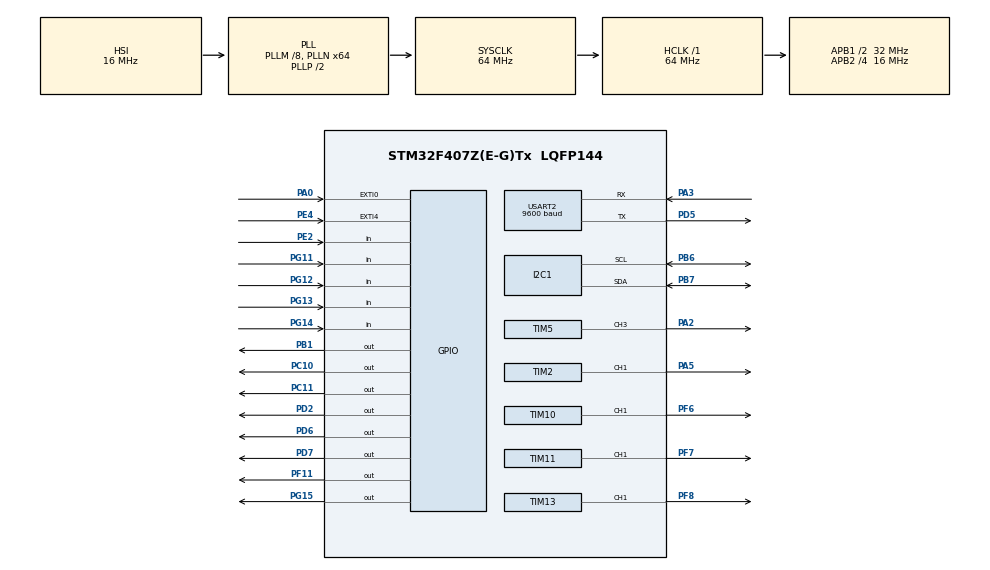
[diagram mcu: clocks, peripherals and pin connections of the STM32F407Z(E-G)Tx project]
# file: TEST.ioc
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Dma.Request0=USART2_RX
Dma.Request1=USART2_TX
Dma.USART2_RX.0.Direction=DMA_PERIPH_TO_MEMORY
Dma.USART2_RX.0.FIFOMode=DMA_FIFOMODE_DISABLE
Dma.USART2_RX.0.Instance=DMA1_Stream5
Dma.USART2_RX.0.MemDataAlignment=DMA_MDATAALIGN_BYTE
Dma.USART2_RX.0.MemInc=DMA_MINC_ENABLE
Dma.USART2_RX.0.Mode=DMA_NORMAL
Dma.USART2_RX.0.PeriphDataAlignment=DMA_PDATAALIGN_BYTE
Dma.USART2_RX.0.PeriphInc=DMA_PINC_DISABLE
Dma.USART2_RX.0.Priority=DMA_PRIORITY_VERY_HIGH
Dma.USART2_TX.1.Direction=DMA_MEMORY_TO_PERIPH
Dma.USART2_TX.1.FIFOMode=DMA_FIFOMODE_DISABLE
Dma.USART2_TX.1.Instance=DMA1_Stream6
Dma.USART2_TX.1.MemDataAlignment=DMA_MDATAALIGN_BYTE
Dma.USART2_TX.1.MemInc=DMA_MINC_ENABLE
Dma.USART2_TX.1.Mode=DMA_NORMAL
Dma.USART2_TX.1.PeriphDataAlignment=DMA_PDATAALIGN_BYTE
Dma.USART2_TX.1.PeriphInc=DMA_PINC_DISABLE
Dma.USART2_TX.1.Priority=DMA_PRIORITY_MEDIUM
FREERTOS.Tasks01=defaultTask,0,128,StartDefaultTask,Default,NULL,Dynamic,NULL,NULL;LinePrtrol,0,128,StartLinePrtrol,Default,NULL,Dynamic,NULL,NULL
FREERTOS.Timers01=SpeedGet,Callback01,osTimerPeriodic,Default,NULL,Dynamic,NULL
FREERTOS.configUSE_TIMERS=1
Mcu.Family=STM32F4
Mcu.Name=STM32F407Z(E-G)Tx
Mcu.Package=LQFP144
NVIC.DMA1_Stream5_IRQn=true\:5\:0\:false\:false\:true\:true\:false\:true\:true
NVIC.DMA1_Stream6_IRQn=true\:5\:0\:false\:false\:true\:true\:false\:true\:true
NVIC.EXTI0_IRQn=true\:6\:0\:true\:false\:true\:true\:true\:true\:true
NVIC.EXTI4_IRQn=true\:6\:0\:true\:false\:true\:true\:true\:true\:true
NVIC.PriorityGroup=NVIC_PRIORITYGROUP_4
NVIC.TIM1_UP_TIM10_IRQn=true\:15\:0\:false\:false\:true\:false\:false\:true\:true
NVIC.TimeBase=TIM1_UP_TIM10_IRQn
NVIC.TimeBaseIP=TIM1
NVIC.USART2_IRQn=true\:5\:0\:false\:false\:true\:true\:true\:true\:true
PA0-WKUP.GPIO_PuPd=GPIO_PULLDOWN
PA0-WKUP.Signal=GPXTI0
PA13.Mode=Serial_Wire
PA13.Signal=SYS_JTMS-SWDIO
PA14.Mode=Serial_Wire
PA14.Signal=SYS_JTCK-SWCLK
PA2.Signal=S_TIM5_CH3
PA3.Mode=Asynchronous
PA3.Signal=USART2_RX
PA5.Signal=S_TIM2_CH1_ETR
PB1.GPIO_Speed=GPIO_SPEED_FREQ_HIGH
PB1.PinState=GPIO_PIN_SET
PB1.Signal=GPIO_Output
PB6.Mode=I2C
PB6.Signal=I2C1_SCL
PB7.Mode=I2C
PB7.Signal=I2C1_SDA
PC10.GPIO_Speed=GPIO_SPEED_FREQ_HIGH
PC10.PinState=GPIO_PIN_SET
PC10.Signal=GPIO_Output
PC11.GPIO_Speed=GPIO_SPEED_FREQ_HIGH
PC11.PinState=GPIO_PIN_SET
PC11.Signal=GPIO_Output
PD2.GPIO_Speed=GPIO_SPEED_FREQ_HIGH
PD2.PinState=GPIO_PIN_SET
PD2.Signal=GPIO_Output
PD5.Mode=Asynchronous
PD5.Signal=USART2_TX
PD6.GPIO_Speed=GPIO_SPEED_FREQ_HIGH
PD6.PinState=GPIO_PIN_SET
PD6.Signal=GPIO_Output
PD7.GPIO_Speed=GPIO_SPEED_FREQ_HIGH
PD7.PinState=GPIO_PIN_SET
PD7.Signal=GPIO_Output
PE2.GPIO_PuPd=GPIO_PULLDOWN
PE2.Signal=GPIO_Input
PE4.GPIO_PuPd=GPIO_PULLDOWN
PE4.Signal=GPXTI4
PF11.GPIO_Speed=GPIO_SPEED_FREQ_HIGH
PF11.PinState=GPIO_PIN_SET
PF11.Signal=GPIO_Output
PF6.Signal=S_TIM10_CH1
PF7.Signal=S_TIM11_CH1
PF8.Signal=S_TIM13_CH1
PG11.GPIO_PuPd=GPIO_PULLDOWN
PG11.Signal=GPIO_Input
PG12.GPIO_PuPd=GPIO_PULLDOWN
PG12.Signal=GPIO_Input
PG13.GPIO_PuPd=GPIO_PULLDOWN
PG13.Signal=GPIO_Input
PG14.GPIO_PuPd=GPIO_PULLDOWN
PG14.Signal=GPIO_Input
PG15.GPIO_Speed=GPIO_SPEED_FREQ_HIGH
PG15.PinState=GPIO_PIN_SET
PG15.Signal=GPIO_Output
PH0-OSC_IN.Mode=HSE-External-Oscillator
PH0-OSC_IN.Signal=RCC_OSC_IN
PH1-OSC_OUT.Mode=HSE-External-Oscillator
PH1-OSC_OUT.Signal=RCC_OSC_OUT
ProjectManager.HeapSize=0x200
ProjectManager.StackSize=0x400
ProjectManager.TargetToolchain=MDK-ARM V5.32
RCC.48MHZClocksFreq_Value=32000000
RCC.AHBFreq_Value=64000000
RCC.APB1CLKDivider=RCC_HCLK_DIV2
RCC.APB1Freq_Value=32000000
RCC.APB1TimFreq_Value=64000000
RCC.APB2CLKDivider=RCC_HCLK_DIV4
RCC.APB2Freq_Value=16000000
RCC.APB2TimFreq_Value=32000000
RCC.CortexFreq_Value=64000000
RCC.HCLKFreq_Value=64000000
RCC.HSE_VALUE=25000000
RCC.HSI_VALUE=16000000
RCC.LSE_VALUE=32768
RCC.PLLM=8
RCC.PLLN=64
RCC.SYSCLKFreq_VALUE=64000000
RCC.SYSCLKSource=RCC_SYSCLKSOURCE_PLLCLK
RCC.VCOOutputFreq_Value=128000000
SH.S_TIM10_CH1.0=TIM10_CH1,PWM Generation1 CH1
SH.S_TIM11_CH1.0=TIM11_CH1,PWM Generation1 CH1
SH.S_TIM13_CH1.0=TIM13_CH1,PWM Generation1 CH1
SH.S_TIM2_CH1_ETR.0=TIM2_CH1,PWM Generation1 CH1
SH.S_TIM5_CH3.0=TIM5_CH3,PWM Generation3 CH3
TIM10.Channel=TIM_CHANNEL_1
TIM10.Prescaler=168-1
TIM11.Channel=TIM_CHANNEL_1
TIM11.Prescaler=168-1
TIM13.Channel=TIM_CHANNEL_1
TIM13.Prescaler=168-1
TIM2.Channel-PWM\ Generation1\ CH1=TIM_CHANNEL_1
TIM2.Period=65535
TIM2.Prescaler=168-1
TIM5.AutoReloadPreload=TIM_AUTORELOAD_PRELOAD_ENABLE
TIM5.Channel-PWM\ Generation3\ CH3=TIM_CHANNEL_3
TIM5.Period=3000
TIM5.Prescaler=72-1
USART2.BaudRate=9600
USART2.VirtualMode=VM_ASYNC
VP_FREERTOS_VS_CMSIS_V1.Mode=CMSIS_V1
VP_SYS_VS_tim1.Mode=TIM1
VP_TIM10_VS_ClockSourceINT.Mode=Enable_Timer
VP_TIM11_VS_ClockSourceINT.Mode=Enable_Timer
VP_TIM13_VS_ClockSourceINT.Mode=Enable_Timer
VP_TIM2_VS_ClockSourceITR.Mode=TriggerSource_ITR0
VP_TIM5_VS_ClockSourceINT.Mode=Internal
VP_TIM5_VS_ClockSourceITR.Mode=TriggerSource_ITR0
board=custom

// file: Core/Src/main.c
/* USER CODE BEGIN Header */
/**
  ******************************************************************************
  * @file           : main.c
  * @brief          : Main program body
  ******************************************************************************
  * @attention
  *
  * <h2><center>&copy; Copyright (c) 2021 STMicroelectronics.
  * All rights reserved.</center></h2>
  *
  * This software component is licensed by ST under BSD 3-Clause license,
  * the "License"; You may not use this file except in compliance with the
  * License. You may obtain a copy of the License at:
  *                        opensource.org/licenses/BSD-3-Clause
  *
  ******************************************************************************
  */
/* USER CODE END Header */
#include "main.h"
#include "cmsis_os.h"
#include "dma.h"
#include "i2c.h"
#include "tim.h"
#include "usart.h"
#include "gpio.h"

/* USER CODE BEGIN Includes */
#include "robot.h"
#include "BlueTooth.h"
#include "OLED.h"
#include "robot_def.h"
/* USER CODE END Includes */

void SystemClock_Config(void);
void MX_FREERTOS_Init(void);

/* USER CODE BEGIN 0 */
ROBOT_T*robot_t;
/* USER CODE END 0 */

int main(void)
{

  /* MCU Configuration--------------------------------------------------------*/

  /* Reset of all peripherals, Initializes the Flash interface and the Systick. */
  HAL_Init();

  /* Configure the system clock */
  SystemClock_Config();

  /* Initialize all configured peripherals */
  MX_GPIO_Init();
  MX_TIM5_Init();
  MX_TIM10_Init();
  MX_TIM11_Init();
  MX_TIM13_Init();
  MX_I2C1_Init();
  MX_DMA_Init();
  MX_USART2_UART_Init();
  MX_TIM2_Init();
  /* USER CODE BEGIN 2 */
  HAL_Delay(500);			//延时500ms使MCU启动，防止电磁I2C干扰通信

//	HAL_TIM_Encoder_Start(Encoder_Port_1,Encode_CHANNEL);
//	HAL_TIM_Encoder_Start(Encoder_Port_2,Encode_CHANNEL);
//	HAL_TIM_Encoder_Start(Encoder_Port_3,Encode_CHANNEL);
//	HAL_TIM_Encoder_Start(Encoder_Port_4,Encode_CHANNEL);

  HAL_TIM_PWM_Start(MUSIC_PORT,MUSIC_CHANNEL); //打开音乐播放

	USER_DMA_Init();	//用户自定义DMA初始�??
	OLED_init();      //OLED初始�??

	robot_t=RobotCreat();
  CreatMonitor(robot_t);
  /* USER CODE END 2 */

  /* Call init function for freertos objects (in freertos.c) */
  MX_FREERTOS_Init();

  /* Start scheduler */
  osKernelStart();

  /* We should never get here as control is now taken by the scheduler */
  /* Infinite loop */
  while (1)
  {

  }
}

void SystemClock_Config(void)
{
  RCC_OscInitTypeDef RCC_OscInitStruct = {0};
  RCC_ClkInitTypeDef RCC_ClkInitStruct = {0};

  /** Configure the main internal regulator output voltage
  */
  __HAL_RCC_PWR_CLK_ENABLE();
  __HAL_PWR_VOLTAGESCALING_CONFIG(PWR_REGULATOR_VOLTAGE_SCALE1);

  /** Initializes the RCC Oscillators according to the specified parameters
  * in the RCC_OscInitTypeDef structure.
  */
  RCC_OscInitStruct.OscillatorType = RCC_OSCILLATORTYPE_HSI;
  RCC_OscInitStruct.HSIState = RCC_HSI_ON;
  RCC_OscInitStruct.HSICalibrationValue = RCC_HSICALIBRATION_DEFAULT;
  RCC_OscInitStruct.PLL.PLLState = RCC_PLL_ON;
  RCC_OscInitStruct.PLL.PLLSource = RCC_PLLSOURCE_HSI;
  RCC_OscInitStruct.PLL.PLLM = 8;
  RCC_OscInitStruct.PLL.PLLN = 64;
  RCC_OscInitStruct.PLL.PLLP = RCC_PLLP_DIV2;
  RCC_OscInitStruct.PLL.PLLQ = 4;
  if (HAL_RCC_OscConfig(&RCC_OscInitStruct) != HAL_OK)
  {
    Error_Handler();
  }

  /** Initializes the CPU, AHB and APB buses clocks
  */
  RCC_ClkInitStruct.ClockType = RCC_CLOCKTYPE_HCLK|RCC_CLOCKTYPE_SYSCLK
                              |RCC_CLOCKTYPE_PCLK1|RCC_CLOCKTYPE_PCLK2;
  RCC_ClkInitStruct.SYSCLKSource = RCC_SYSCLKSOURCE_PLLCLK;
  RCC_ClkInitStruct.AHBCLKDivider = RCC_SYSCLK_DIV1;
  RCC_ClkInitStruct.APB1CLKDivider = RCC_HCLK_DIV2;
  RCC_ClkInitStruct.APB2CLKDivider = RCC_HCLK_DIV4;

  if (HAL_RCC_ClockConfig(&RCC_ClkInitStruct, FLASH_LATENCY_2) != HAL_OK)
  {
    Error_Handler();
  }
}

/* USER CODE BEGIN 4 */
//通过按键中断控制电机是否转动（每次按键flag变化�??
void HAL_GPIO_EXTI_Callback(uint16_t GPIO_Pin)
{
	delay_us(600);		//按键消抖
	//蓝牙循迹模式按键
	if(GPIO_Pin==GPIO_PIN_4)
	{
		if(robot_t->CtrMode==ModeBlueTooth)
		{
			robot_t->CtrMode=ModePatrol;
			return;
		}
		else robot_t->CtrMode=ModeBlueTooth;
	}
	//电机控制按键
	if(GPIO_Pin==GPIO_PIN_0)
	{
			if(robot_t->MotorMode==MotorOff)
		{
			robot_t->MotorMode=MotorOn;
			return;
		}
		else robot_t->MotorMode=MotorOff;
	}
}

/* USER CODE END 4 */

void HAL_TIM_PeriodElapsedCallback(TIM_HandleTypeDef *htim)
{
  if (htim->Instance == TIM1) {
    HAL_IncTick();
  }
}

void Error_Handler(void)
{
  __disable_irq();
}

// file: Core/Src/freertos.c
/* USER CODE BEGIN Header */
/**
  ******************************************************************************
  * File Name          : freertos.c
  * Description        : Code for freertos applications
  ******************************************************************************
  * @attention
  *
  * <h2><center>&copy; Copyright (c) 2021 STMicroelectronics.
  * All rights reserved.</center></h2>
  *
  * This software component is licensed by ST under Ultimate Liberty license
  * SLA0044, the "License"; You may not use this file except in compliance with
  * the License. You may obtain a copy of the License at:
  *                             www.st.com/SLA0044
  *
  ******************************************************************************
  */
/* USER CODE END Header */

#include "FreeRTOS.h"
#include "task.h"
#include "main.h"
#include "cmsis_os.h"

/* USER CODE BEGIN Includes */
#include "line_patrol.h"
#include "robot.h"
#include "music.h"
#include "pid.h"
#include "motor.h"
#include "OLED.h"
#include "usart.h"
/* USER CODE END Includes */

osThreadId defaultTaskHandle;
osThreadId LinePrtrolHandle;
osTimerId SpeedGetHandle;

/* USER CODE BEGIN FunctionPrototypes */
extern ROBOT_T*robot_t;
/* USER CODE END FunctionPrototypes */

void StartDefaultTask(void const * argument);
void StartLinePrtrol(void const * argument);
void Callback01(void const * argument);

void MX_FREERTOS_Init(void); /* (MISRA C 2004 rule 8.1) */

/* GetIdleTaskMemory prototype (linked to static allocation support) */
void vApplicationGetIdleTaskMemory( StaticTask_t **ppxIdleTaskTCBBuffer, StackType_t **ppxIdleTaskStackBuffer, uint32_t *pulIdleTaskStackSize );

/* GetTimerTaskMemory prototype (linked to static allocation support) */
void vApplicationGetTimerTaskMemory( StaticTask_t **ppxTimerTaskTCBBuffer, StackType_t **ppxTimerTaskStackBuffer, uint32_t *pulTimerTaskStackSize );

/* USER CODE BEGIN GET_IDLE_TASK_MEMORY */
static StaticTask_t xIdleTaskTCBBuffer;
static StackType_t xIdleStack[configMINIMAL_STACK_SIZE];

void vApplicationGetIdleTaskMemory( StaticTask_t **ppxIdleTaskTCBBuffer, StackType_t **ppxIdleTaskStackBuffer, uint32_t *pulIdleTaskStackSize )
{
  *ppxIdleTaskTCBBuffer = &xIdleTaskTCBBuffer;
  *ppxIdleTaskStackBuffer = &xIdleStack[0];
  *pulIdleTaskStackSize = configMINIMAL_STACK_SIZE;
  /* place for user code */
}
/* USER CODE END GET_IDLE_TASK_MEMORY */

/* USER CODE BEGIN GET_TIMER_TASK_MEMORY */
static StaticTask_t xTimerTaskTCBBuffer;
static StackType_t xTimerStack[configTIMER_TASK_STACK_DEPTH];

void vApplicationGetTimerTaskMemory( StaticTask_t **ppxTimerTaskTCBBuffer, StackType_t **ppxTimerTaskStackBuffer, uint32_t *pulTimerTaskStackSize )
{
  *ppxTimerTaskTCBBuffer = &xTimerTaskTCBBuffer;
  *ppxTimerTaskStackBuffer = &xTimerStack[0];
  *pulTimerTaskStackSize = configTIMER_TASK_STACK_DEPTH;
  /* place for user code */
}
/* USER CODE END GET_TIMER_TASK_MEMORY */

void MX_FREERTOS_Init(void) {

  /* Create the timer(s) */
  /* definition and creation of SpeedGet */
  osTimerDef(SpeedGet, Callback01);
  SpeedGetHandle = osTimerCreate(osTimer(SpeedGet), osTimerPeriodic, NULL);

  /* USER CODE BEGIN RTOS_TIMERS */
  /* start timers, add new ones, ... */
	osTimerStart(SpeedGetHandle,70);		//70ms获取1次电机脉�??
  /* USER CODE END RTOS_TIMERS */

  /* Create the thread(s) */
  /* definition and creation of defaultTask */
  osThreadDef(defaultTask, StartDefaultTask, osPriorityNormal, 0, 128);
  defaultTaskHandle = osThreadCreate(osThread(defaultTask), NULL);

  /* definition and creation of LinePrtrol */
  osThreadDef(LinePrtrol, StartLinePrtrol, osPriorityNormal, 0, 128);
  LinePrtrolHandle = osThreadCreate(osThread(LinePrtrol), NULL);

}

void StartDefaultTask(void const * argument)
{
  /* USER CODE BEGIN StartDefaultTask */
  /* Infinite loop */
  for(;;)
  {
    StateOledShow();
    osDelay(1);
  }
  /* USER CODE END StartDefaultTask */
}

void StartLinePrtrol(void const * argument)
{
  /* USER CODE BEGIN StartLinePrtrol */
  /* Infinite loop */
  for(;;)
  {
		RunStateGet();
    //SpeedCalculate(robot_t);  //????
		RobotRun(robot_t);
    osDelay(1);
  }
  /* USER CODE END StartLinePrtrol */
}

/* Callback01 function */
void Callback01(void const * argument)
{
  /* USER CODE BEGIN Callback01 */
	// SpeedCalculate(robot_t);
  /* USER CODE END Callback01 */
}
